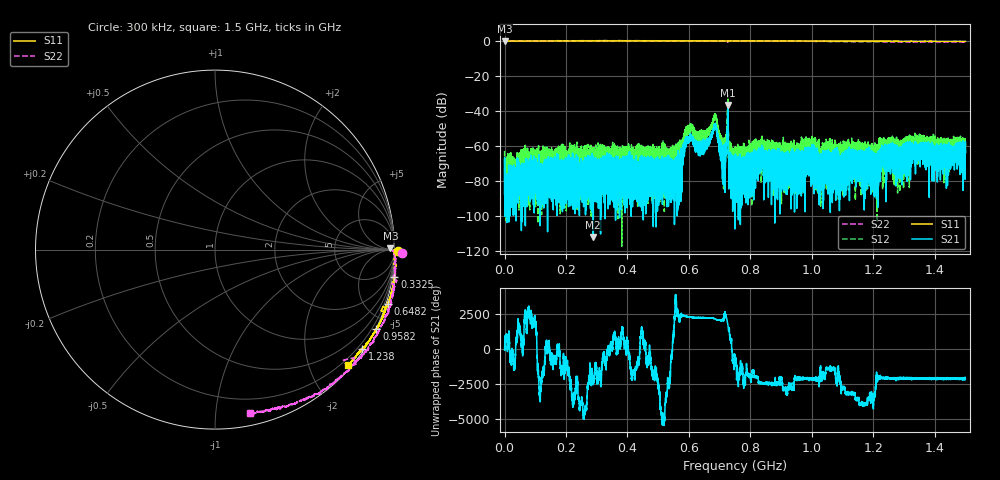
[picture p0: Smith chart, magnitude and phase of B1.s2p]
!Agilent Technologies,N5230C,SG49000117,A.08.50.07
!Agilent N5230C: A.08.50.07
!Date: Thursday, December 07, 2023 04:58:31
!Correction: S11(Full 2 Port(1,2))
!S21(Full 2 Port(1,2))
!S12(Full 2 Port(1,2))
!S22(Full 2 Port(1,2))
!S2P File: Measurements: S11, S21, S12, S22:
# Hz S  RI  R 50
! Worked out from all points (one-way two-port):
!   20001 points, 300 kHz to 1.5 GHz, reference 50 ohm
!   highest |S21| = -36.49 dB at 726.8 MHz (marker M1); lowest = -111.8 dB at 288.9 MHz (marker M2)
!   lowest |S11| = -0.2 dB at 525 kHz (marker M3), VSWR 88.48, Z = 4.07e+03 + j1.2e+03 ohm
!   |S11| at or under -10 dB: nowhere
!   |S22| runs from -0.7 to 0.3 dB; largest |S21 - S12| = 0.015
!   S11 on the Smith chart (normalised r, x): 300 kHz: -78, -35; 332.5 MHz: -1, -13; 648.2 MHz: -0.22, -6.48; 958.2 MHz: -0.02, -4.29; 1.238 GHz: 0.07, -3.26; 1.5 GHz: 0.08, -2.67
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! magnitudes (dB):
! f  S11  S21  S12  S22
! 300 kHz  0.2  -79.8  -62.8  0.3
! 525 kHz  -0.2  -77.5  -71.7  -0.6
! 8.173 MHz  0.0  -78.0  -71.7  0.0
! 250.3 MHz  0.1  -75.3  -74.1  0.2
! 288.9 MHz  0.1  -111.8  -71.7  0.2
! 332.5 MHz  0.1  -87.3  -64.8  0.2
! 500.2 MHz  0.1  -75.2  -64.4  0.2
! 560.2 MHz  0.1  -75.5  -72.2  0.1
! 601.2 MHz  0.1  -56.3  -50.0  0.1
! 648.2 MHz  0.1  -59.5  -52.0  0.1
! 684.2 MHz  0.0  -47.4  -42.5  0.0
! 711.1 MHz  0.1  -64.2  -56.9  0.0
! 726.8 MHz  -0.2  -36.5  -30.9  -0.6
! 736.4 MHz  0.1  -78.4  -62.4  0.0
! 750.1 MHz  0.1  -78.1  -65.9  0.0
! 835.5 MHz  0.0  -65.5  -61.5  0.0
! 958.2 MHz  0.0  -67.1  -64.5  -0.1
! 1 GHz  0.0  -65.3  -58.9  -0.1
! 1.203 GHz  -0.1  -70.6  -68.6  -0.3
! 1.238 GHz  -0.1  -63.6  -64.5  -0.4
! 1.25 GHz  -0.1  -64.3  -58.9  -0.4
! 1.5 GHz  -0.2  -62.1  -56.9  -0.6
